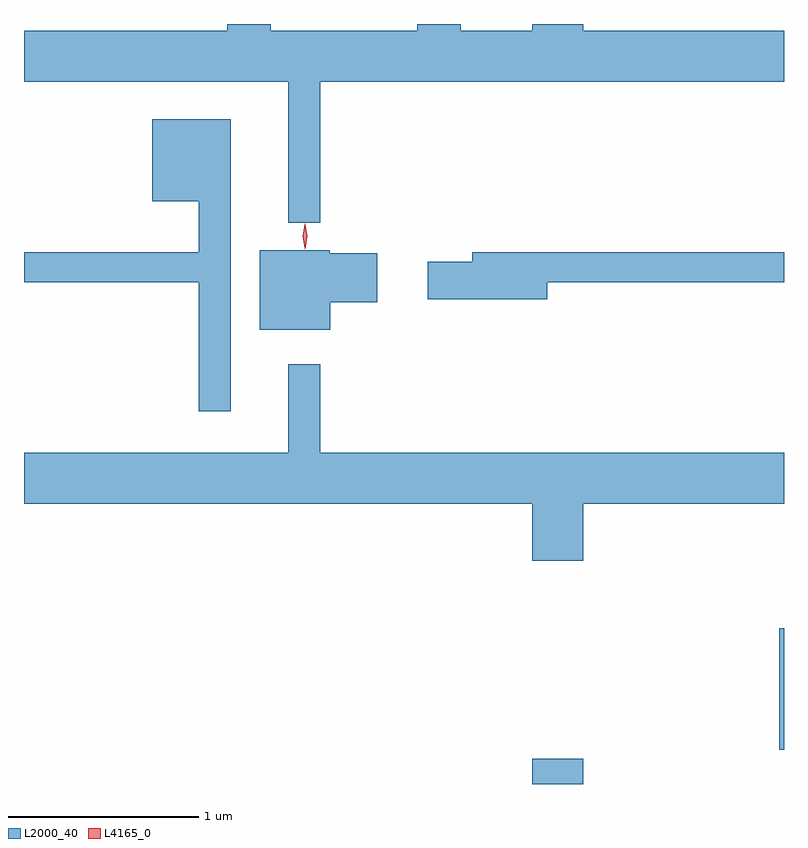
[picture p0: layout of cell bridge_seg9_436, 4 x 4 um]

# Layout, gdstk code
import gdstk
lib = gdstk.Library(unit=1e-6, precision=1e-09)
def R(c, l, rs):  # rectangles x0, y0, x1, y1
    for r in rs: c.add(gdstk.rectangle(r[:2], r[2:], *l))
def P(c, l, *ps):  # polygons
    for p in ps: c.add(gdstk.Polygon(p, *l))
L2000_40 = (2000, 40)
L4165_0 = (4165, 0)

bridge_seg9_436 = lib.new_cell('bridge_seg9_436')
R(bridge_seg9_436, L2000_40, [(394.896,2070.26,395.164,2070.394), (396.196,2070.441,396.221,2071.079)])
P(bridge_seg9_436, L2000_40, [(393.779,2073.956),(396.221,2073.956),(396.221,2074.224),(395.164,2074.224),(395.164,2074.26),(394.896,2074.26),(394.896,2074.224),(394.519,2074.224),(394.519,2074.26),(394.291,2074.26),(394.291,2074.224),(393.519,2074.224),(393.519,2074.26),(393.291,2074.26),(393.291,2074.224),(392.221,2074.224),(392.221,2073.956),(393.611,2073.956),(393.611,2073.213),(393.779,2073.213)],
  [(393.309,2073.759),(392.896,2073.759),(392.896,2073.326),(393.141,2073.326),(393.141,2073.059),(392.221,2073.059),(392.221,2072.901),(393.141,2072.901),(393.141,2072.222),(393.309,2072.222)],
  [(393.834,2072.796),(394.079,2072.796),(394.079,2073.054),(393.83,2073.054),(393.83,2073.069),(393.461,2073.069),(393.461,2072.651),(393.834,2072.651)],
  [(394.974,2072.901),(396.221,2072.901),(396.221,2073.059),(394.581,2073.059),(394.581,2073.009),(394.346,2073.009),(394.346,2072.811),(394.974,2072.811)],
  [(395.164,2071.736),(396.221,2071.736),(396.221,2072.004),(393.779,2072.004),(393.779,2072.468),(393.611,2072.468),(393.611,2072.004),(392.221,2072.004),(392.221,2071.736),(394.896,2071.736),(394.896,2071.436),(395.164,2071.436)])
P(bridge_seg9_436, L4165_0, [(393.701,2073.074),(393.701,2073.075),(393.692,2073.142),(393.701,2073.21),(393.701,2073.21),(393.702,2073.21),(393.711,2073.142),(393.702,2073.075)],
  [(393.698,2073.08),(393.698,2073.08),(393.688,2073.144),(393.698,2073.206),(393.698,2073.207),(393.699,2073.206),(393.708,2073.144),(393.699,2073.08)])

lib.write_gds('bridge_seg9_436.gds')
